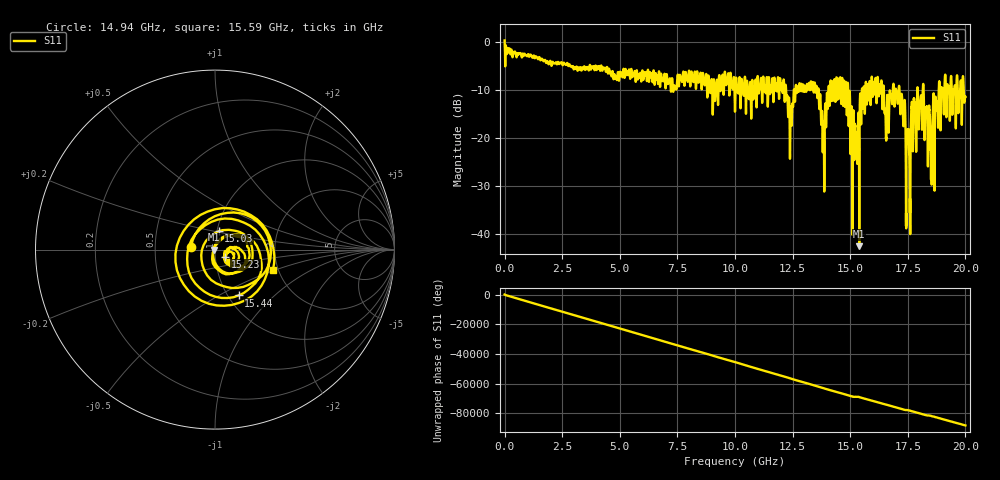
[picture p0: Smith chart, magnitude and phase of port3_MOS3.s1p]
! MS46122B
! 2250307/22442219
! 7/22/2025 7:46:55 AM
! C:\USERS\SPARKY\DOCUMENTS\VNA_DATA\JULY22_2025\3K\PORT3_MOS3.S1P
! CHANNEL.1
! TR.MEASUREMENT
! RAW.DATA
# GHZ S RI R 50.0
! FREQ.GHZ  S11RE  S11IM
!; PortSelection: Port_1
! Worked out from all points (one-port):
!   10001 points, 1 MHz to 20 GHz, reference 50 ohm
!   lowest |S11| = -42.5 dB at 15.39 GHz (marker M1), VSWR 1.02, Z = 49.3 - j0.0347 ohm
!   |S11| at or under -10 dB: 14.91 GHz to 15.51 GHz (594.5 MHz wide, 3.91 % of centre); 17.14 GHz to 17.91 GHz (769.9 MHz wide, 4.39 % of centre); 18.19 GHz to 18.84 GHz (656.6 MHz wide, 3.55 % of centre) (the widest 3 of 83)
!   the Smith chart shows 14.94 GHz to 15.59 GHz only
!   S11 on the Smith chart (normalised r, x): 14.94 GHz: 0.76, +0.02; 15.03 GHz: 1.02, +0.21; 15.23 GHz: 1.12, -0.09; 15.44 GHz: 1.12, -0.62; 15.59 GHz: 1.88, -0.47
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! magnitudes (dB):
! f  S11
! 1 MHz  0.4
! 2.501 GHz  -4.4
! 5.001 GHz  -6.2
! 7.501 GHz  -7.1
! 10 GHz  -14.5
! 12.03 GHz  -8.6
! 12.38 GHz  -21.4
! 12.5 GHz  -12.9
! 13.38 GHz  -8.3
! 13.82 GHz  -20.8
! 14.23 GHz  -8.1
! 14.94 GHz  -17.5
! 15 GHz  -14.5
! 15.03 GHz  -19.6
! 15.23 GHz  -23.0
! 15.39 GHz  -42.5
! 15.44 GHz  -10.8
! 15.59 GHz  -9.3
! 16.27 GHz  -8.8
! 16.59 GHz  -15.1
! 17.05 GHz  -12.3
! 17.3 GHz  -17.0
! 17.5 GHz  -19.7
! 17.73 GHz  -17.7
! 17.99 GHz  -14.0
! 18.46 GHz  -15.7
! 19.05 GHz  -11.0
! 20 GHz  -11.4
